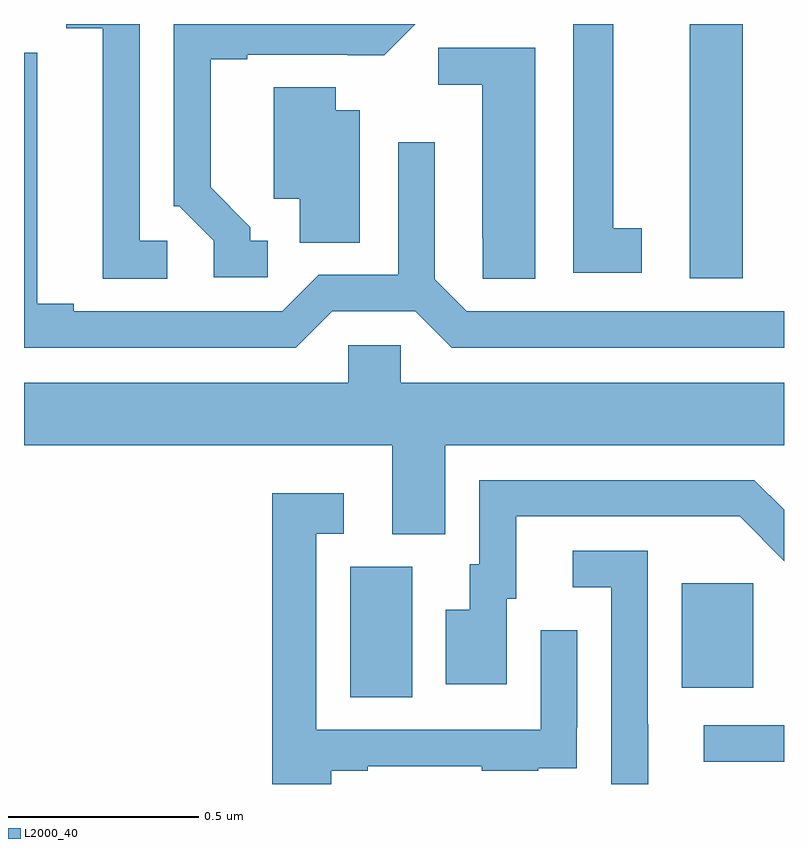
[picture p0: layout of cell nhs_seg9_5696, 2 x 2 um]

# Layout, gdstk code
import gdstk
lib = gdstk.Library(unit=1e-6, precision=1e-09)
def R(c, l, rs):  # rectangles x0, y0, x1, y1
    for r in rs: c.add(gdstk.rectangle(r[:2], r[2:], *l))
def P(c, l, *ps):  # polygons
    for p in ps: c.add(gdstk.Polygon(p, *l))
L2000_40 = (2000, 40)

nhs_seg9_5696 = lib.new_cell('nhs_seg9_5696')
R(nhs_seg9_5696, L2000_40, [(183.789,1223.559,184,1223.655), (182.858,1223.728,183.022,1224.072), (183.731,1223.753,183.919,1224.028), (183.752,1224.831,183.892,1225.5)])
P(nhs_seg9_5696, L2000_40, [(182.377,1224.93),(182.304,1224.93),(182.304,1225.5),(182.111,1225.5),(182.111,1225.489),(182.207,1225.489),(182.207,1224.829),(182.377,1224.829)],
  [(183.625,1224.962),(183.55,1224.962),(183.55,1225.5),(183.446,1225.5),(183.446,1224.846),(183.625,1224.846)],
  [(182.641,1224.93),(182.596,1224.93),(182.596,1224.965),(182.491,1225.07),(182.491,1225.407),(182.587,1225.407),(182.587,1225.419),(182.852,1225.419),(182.852,1225.418),(182.948,1225.418),(183.03,1225.5),(182.394,1225.5),(182.394,1225.02),(182.409,1225.02),(182.499,1224.93),(182.499,1224.834),(182.641,1224.834)],
  [(183.346,1225.437),(183.09,1225.437),(183.09,1225.34),(183.206,1225.34),(183.206,1224.937),(183.207,1224.937),(183.207,1224.829),(183.346,1224.829)],
  [(182.811,1224.744),(183.029,1224.744),(183.125,1224.648),(184,1224.648),(184,1224.744),(183.165,1224.744),(183.081,1224.828),(183.081,1225.189),(182.985,1225.189),(182.985,1224.84),(182.775,1224.84),(182.679,1224.744),(182.131,1224.744),(182.131,1224.764),(182.035,1224.764),(182.035,1225.424),(182,1225.424),(182,1224.648),(182.715,1224.648)],
  [(182.884,1225.273),(182.821,1225.273),(182.821,1225.334),(182.657,1225.334),(182.657,1225.04),(182.726,1225.04),(182.726,1224.925),(182.884,1224.925)],
  [(183.109,1224.392),(184,1224.392),(184,1224.556),(182.991,1224.556),(182.991,1224.654),(182.853,1224.654),(182.853,1224.556),(182,1224.556),(182,1224.392),(182.969,1224.392),(182.969,1224.157),(183.109,1224.157)],
  [(183.271,1223.988),(183.295,1223.988),(183.295,1224.204),(183.883,1224.204),(184,1224.086),(184,1224.222),(183.922,1224.3),(183.198,1224.3),(183.198,1224.078),(183.173,1224.078),(183.173,1223.959),(183.11,1223.959),(183.11,1223.763),(183.271,1223.763)],
  [(182.809,1223.535),(182.905,1223.535),(182.905,1223.547),(183.205,1223.547),(183.205,1223.535),(183.353,1223.535),(183.353,1223.541),(183.455,1223.541),(183.455,1223.65),(183.456,1223.65),(183.456,1223.905),(183.36,1223.905),(183.36,1223.643),(182.769,1223.643),(182.769,1224.159),(182.842,1224.159),(182.842,1224.265),(182.653,1224.265),(182.653,1223.5),(182.809,1223.5)],
  [(183.643,1223.657),(183.642,1223.657),(183.642,1224.114),(183.444,1224.114),(183.444,1224.018),(183.546,1224.018),(183.546,1223.5),(183.643,1223.5)])

lib.write_gds('nhs_seg9_5696.gds')
